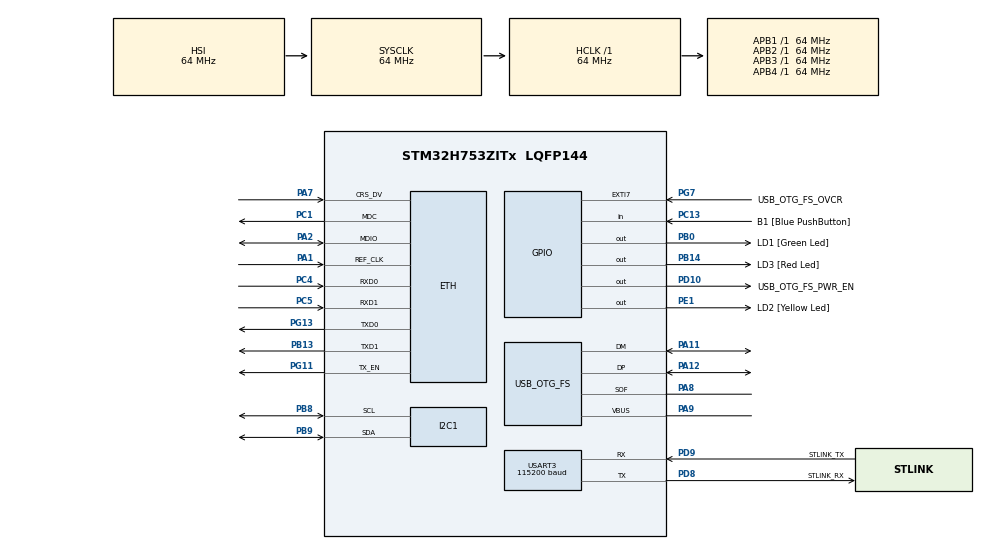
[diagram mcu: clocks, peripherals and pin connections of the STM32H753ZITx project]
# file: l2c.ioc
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CORTEX_M7.CPU_DCache=Disabled
CORTEX_M7.CPU_ICache=Disabled
CORTEX_M7.MPU_Control=__NULL
ETH.ETH_RX_DESC_CNT=4
ETH.ETH_TX_DESC_CNT=4
ETH.MACAddr=00\:80\:E1\:00\:00\:00
ETH.MediaInterface=HAL_ETH_RMII_MODE
ETH.RxBuffAddress=0x30040200
ETH.RxBuffLen=1524
ETH.RxDescAddress=0x30040000
ETH.TxDescAddress=0x30040060
Mcu.Family=STM32H7
Mcu.Name=STM32H753ZITx
Mcu.Package=LQFP144
NVIC.I2C1_ER_IRQn=true\:0\:0\:false\:false\:true\:true\:true\:true
NVIC.I2C1_EV_IRQn=true\:0\:0\:false\:false\:true\:true\:true\:true
NVIC.PriorityGroup=NVIC_PRIORITYGROUP_4
NVIC.USART3_IRQn=true\:0\:0\:false\:false\:true\:true\:true\:true
PA1.Mode=RMII
PA1.Signal=ETH_REF_CLK
PA11.Mode=Device_Only
PA11.Signal=USB_OTG_FS_DM
PA12.Mode=Device_Only
PA12.Signal=USB_OTG_FS_DP
PA2.Mode=RMII
PA2.Signal=ETH_MDIO
PA7.Mode=RMII
PA7.Signal=ETH_CRS_DV
PA8.Mode=Activate_SOF_FS
PA8.Signal=USB_OTG_FS_SOF
PA9.Mode=Activate_VBUS
PA9.Signal=USB_OTG_FS_VBUS
PB0.GPIO_Label=LD1 [Green Led]
PB0.Signal=GPIO_Output
PB13.Mode=RMII
PB13.Signal=ETH_TXD1
PB14.GPIO_Label=LD3 [Red Led]
PB14.Signal=GPIO_Output
PB8.GPIO_Speed=GPIO_SPEED_FREQ_VERY_HIGH
PB8.Mode=I2C
PB8.Signal=I2C1_SCL
PB9.GPIO_Speed=GPIO_SPEED_FREQ_VERY_HIGH
PB9.Mode=I2C
PB9.Signal=I2C1_SDA
PC1.Mode=RMII
PC1.Signal=ETH_MDC
PC13.GPIO_Label=B1 [Blue PushButton]
PC13.Signal=GPIO_Input
PC14-OSC32_IN\ (OSC32_IN).Mode=LSE-External-Oscillator
PC14-OSC32_IN\ (OSC32_IN).Signal=RCC_OSC32_IN
PC15-OSC32_OUT\ (OSC32_OUT).Mode=LSE-External-Oscillator
PC15-OSC32_OUT\ (OSC32_OUT).Signal=RCC_OSC32_OUT
PC4.Mode=RMII
PC4.Signal=ETH_RXD0
PC5.Mode=RMII
PC5.Signal=ETH_RXD1
PD10.GPIO_Label=USB_OTG_FS_PWR_EN
PD10.Signal=GPIO_Output
PD8.GPIO_Label=STLINK_RX
PD8.Mode=Asynchronous
PD8.Signal=USART3_TX
PD9.GPIO_Label=STLINK_TX
PD9.Mode=Asynchronous
PD9.Signal=USART3_RX
PE1.GPIO_Label=LD2 [Yellow Led]
PE1.Signal=GPIO_Output
PG11.Mode=RMII
PG11.Signal=ETH_TX_EN
PG13.Mode=RMII
PG13.Signal=ETH_TXD0
PG7.GPIO_Label=USB_OTG_FS_OVCR
PG7.Signal=GPXTI7
PH0-OSC_IN\ (PH0).Mode=HSE-External-Clock-Source
PH0-OSC_IN\ (PH0).Signal=RCC_OSC_IN
PH1-OSC_OUT\ (PH1).Signal=RCC_OSC_OUT
ProjectManager.HeapSize=0x200
ProjectManager.StackSize=0x400
ProjectManager.TargetToolchain=STM32CubeIDE
RCC.ADCFreq_Value=16125000
RCC.APB1Freq_Value=64000000
RCC.APB2Freq_Value=64000000
RCC.APB3Freq_Value=64000000
RCC.APB4Freq_Value=64000000
RCC.CortexFreq_Value=64000000
RCC.DIVM1=1
RCC.DIVN1=24
RCC.DIVQ1=4
RCC.HCLKFreq_Value=64000000
RCC.HSE_VALUE=8000000
RCC.PLLFRACN=0
RCC.PWR_Regulator_Voltage_Scale=PWR_REGULATOR_VOLTAGE_SCALE2
RCC.SYSCLKFreq_VALUE=64000000
RCC.USBFreq_Value=48000000
USART3.AutoBaudRateEnableParam=UART_ADVFEATURE_AUTOBAUDRATE_DISABLE
USART3.BaudRate=115200
USART3.ClockPrescaler=PRESCALER_DIV1
USART3.DMADisableonRxErrorParam=ADVFEATURE_DMA_ENABLEONRXERROR
USART3.DataInvertParam=ADVFEATURE_DATAINV_DISABLE
USART3.FIFOMode=FIFOMODE_DISABLE
USART3.MSBFirstParam=ADVFEATURE_MSBFIRST_DISABLE
USART3.Mode=MODE_TX_RX
USART3.OneBitSampling=UART_ONE_BIT_SAMPLE_DISABLE
USART3.OverSampling=UART_OVERSAMPLING_16
USART3.OverrunDisableParam=ADVFEATURE_OVERRUN_ENABLE
USART3.Parity=PARITY_NONE
USART3.RXFIFOThreshold=RXFIFO_THRESHOLD_1EIGHTHFULL
USART3.RxPinLevelInvertParam=ADVFEATURE_RXINV_DISABLE
USART3.StopBits=STOPBITS_1
USART3.SwapParam=ADVFEATURE_SWAP_DISABLE
USART3.TXFIFOThreshold=TXFIFO_THRESHOLD_1EIGHTHFULL
USART3.TxPinLevelInvertParam=ADVFEATURE_TXINV_DISABLE
USART3.VirtualMode-Asynchronous=VM_ASYNC
USART3.WordLength=WORDLENGTH_8B
USB_OTG_FS.Sof_enable=ENABLE
USB_OTG_FS.VirtualMode=Device_Only
USB_OTG_FS.battery_charging_enable=ENABLE
USB_OTG_FS.low_power_enable=DISABLE
USB_OTG_FS.lpm_enable=DISABLE
USB_OTG_FS.use_dedicated_ep1=DISABLE
USB_OTG_FS.vbus_sensing_enable=ENABLE
VP_MEMORYMAP_VS_MEMORYMAP.Mode=CurAppReg
board=NUCLEO-H753ZI

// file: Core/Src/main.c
/* USER CODE BEGIN Header */
/**
  ******************************************************************************
  * @file           : main.c
  * @brief          : Main program body
  ******************************************************************************
  * @attention
  *
  * Copyright (c) 2024 STMicroelectronics.
  * All rights reserved.
  *
  * This software is licensed under terms that can be found in the LICENSE file
  * in the root directory of this software component.
  * If no LICENSE file comes with this software, it is provided AS-IS.
  *
  ******************************************************************************
  */
/* USER CODE END Header */
#include "main.h"
#include "string.h"
#include "stdlib.h"

/* USER CODE BEGIN PD */

#define PCF8591_ADDRESS 0x48 << 1 // PFC8591 IC2 Address (shifted for STM32 HAL)
/* USER CODE END PD */

#if defined ( __ICCARM__ ) /*!< IAR Compiler */
#pragma location=0x30040000
ETH_DMADescTypeDef  DMARxDscrTab[ETH_RX_DESC_CNT]; /* Ethernet Rx DMA Descriptors */
#pragma location=0x30040060
ETH_DMADescTypeDef  DMATxDscrTab[ETH_TX_DESC_CNT]; /* Ethernet Tx DMA Descriptors */

#elif defined ( __CC_ARM )  /* MDK ARM Compiler */

__attribute__((at(0x30040000))) ETH_DMADescTypeDef  DMARxDscrTab[ETH_RX_DESC_CNT]; /* Ethernet Rx DMA Descriptors */
__attribute__((at(0x30040060))) ETH_DMADescTypeDef  DMATxDscrTab[ETH_TX_DESC_CNT]; /* Ethernet Tx DMA Descriptors */

#elif defined ( __GNUC__ ) /* GNU Compiler */

ETH_DMADescTypeDef DMARxDscrTab[ETH_RX_DESC_CNT] __attribute__((section(".RxDecripSection"))); /* Ethernet Rx DMA Descriptors */
ETH_DMADescTypeDef DMATxDscrTab[ETH_TX_DESC_CNT] __attribute__((section(".TxDecripSection")));   /* Ethernet Tx DMA Descriptors */
#endif

ETH_TxPacketConfig TxConfig;

ETH_HandleTypeDef heth;

I2C_HandleTypeDef hi2c1;

UART_HandleTypeDef huart3;

PCD_HandleTypeDef hpcd_USB_OTG_FS;

void SystemClock_Config(void);
static void MX_GPIO_Init(void);
static void MX_ETH_Init(void);
static void MX_USART3_UART_Init(void);
static void MX_USB_OTG_FS_PCD_Init(void);
static void MX_I2C1_Init(void);
/* USER CODE BEGIN PFP */
uint8_t PCF8591_ReadAnalog(uint8_t channel);
void PCF8591_ReadPot();
void PCF8591_ReadLDR();
void PCF8591_ReadTemp();
uint8_t rxBuffer[12];
char stringBuffer[12];
/* USER CODE END PFP */

int main(void)
{

  /* MCU Configuration--------------------------------------------------------*/

  /* Reset of all peripherals, Initializes the Flash interface and the Systick. */
  HAL_Init();

  /* Configure the system clock */
  SystemClock_Config();

  /* Initialize all configured peripherals */
  MX_GPIO_Init();
  MX_ETH_Init();
  MX_USART3_UART_Init();
  MX_USB_OTG_FS_PCD_Init();
  MX_I2C1_Init();
  /* USER CODE BEGIN 2 */
  //Mensagem para avisar ao usuário que o programa começou
  char welcomeMsg[] = "Digite um comando:\r\n";
  HAL_UART_Transmit_IT(&huart3, (uint8_t *)welcomeMsg, strlen(welcomeMsg));
  //Receive_IT inicial para permitir que a placa receba um
  HAL_UART_Receive_IT(&huart3, rxBuffer, 12);

  /* USER CODE END 2 */

  /* Infinite loop */
  /* USER CODE BEGIN WHILE */
  while (1)
  {

	  HAL_Delay(1000);
	  strncpy(stringBuffer, rxBuffer, 12);

	  //Func para checar o valor no sensor de canal 0
	  if(strncmp(stringBuffer,"LDR",3) == 0){
		  PCF8591_ReadLDR();
		  HAL_Delay(100);

	  }

	  //Func para checar o valor no sensor de canal 1
	  if(strncmp(stringBuffer,"Temp",4) == 0){
		  PCF8591_ReadTemp();
		  HAL_Delay(100);
	  }

	  //Func para checar o valor no sensor de canal 3
	  if(strncmp(stringBuffer,"Pot",3) == 0){
		  PCF8591_ReadPot();
		  HAL_Delay(100);
	  }

	  if(strncmp(stringBuffer,"Set_DAC_",8)==0){

		  uint8_t value = (uint8_t)atoi((char*)&stringBuffer[8]);
		  set_dac(value);

	  }

    /* USER CODE END WHILE */

  }
}

void SystemClock_Config(void)
{
  RCC_OscInitTypeDef RCC_OscInitStruct = {0};
  RCC_ClkInitTypeDef RCC_ClkInitStruct = {0};

  /** Supply configuration update enable
  */
  HAL_PWREx_ConfigSupply(PWR_LDO_SUPPLY);

  /** Configure the main internal regulator output voltage
  */
  __HAL_PWR_VOLTAGESCALING_CONFIG(PWR_REGULATOR_VOLTAGE_SCALE2);

  while(!__HAL_PWR_GET_FLAG(PWR_FLAG_VOSRDY)) {}

  /** Initializes the RCC Oscillators according to the specified parameters
  * in the RCC_OscInitTypeDef structure.
  */
  RCC_OscInitStruct.OscillatorType = RCC_OSCILLATORTYPE_HSI|RCC_OSCILLATORTYPE_HSE;
  RCC_OscInitStruct.HSEState = RCC_HSE_BYPASS;
  RCC_OscInitStruct.HSIState = RCC_HSI_DIV1;
  RCC_OscInitStruct.HSICalibrationValue = RCC_HSICALIBRATION_DEFAULT;
  RCC_OscInitStruct.PLL.PLLState = RCC_PLL_ON;
  RCC_OscInitStruct.PLL.PLLSource = RCC_PLLSOURCE_HSE;
  RCC_OscInitStruct.PLL.PLLM = 1;
  RCC_OscInitStruct.PLL.PLLN = 24;
  RCC_OscInitStruct.PLL.PLLP = 2;
  RCC_OscInitStruct.PLL.PLLQ = 4;
  RCC_OscInitStruct.PLL.PLLR = 2;
  RCC_OscInitStruct.PLL.PLLRGE = RCC_PLL1VCIRANGE_3;
  RCC_OscInitStruct.PLL.PLLVCOSEL = RCC_PLL1VCOWIDE;
  RCC_OscInitStruct.PLL.PLLFRACN = 0;
  if (HAL_RCC_OscConfig(&RCC_OscInitStruct) != HAL_OK)
  {
    Error_Handler();
  }

  /** Initializes the CPU, AHB and APB buses clocks
  */
  RCC_ClkInitStruct.ClockType = RCC_CLOCKTYPE_HCLK|RCC_CLOCKTYPE_SYSCLK
                              |RCC_CLOCKTYPE_PCLK1|RCC_CLOCKTYPE_PCLK2
                              |RCC_CLOCKTYPE_D3PCLK1|RCC_CLOCKTYPE_D1PCLK1;
  RCC_ClkInitStruct.SYSCLKSource = RCC_SYSCLKSOURCE_HSI;
  RCC_ClkInitStruct.SYSCLKDivider = RCC_SYSCLK_DIV1;
  RCC_ClkInitStruct.AHBCLKDivider = RCC_HCLK_DIV1;
  RCC_ClkInitStruct.APB3CLKDivider = RCC_APB3_DIV1;
  RCC_ClkInitStruct.APB1CLKDivider = RCC_APB1_DIV1;
  RCC_ClkInitStruct.APB2CLKDivider = RCC_APB2_DIV1;
  RCC_ClkInitStruct.APB4CLKDivider = RCC_APB4_DIV1;

  if (HAL_RCC_ClockConfig(&RCC_ClkInitStruct, FLASH_LATENCY_1) != HAL_OK)
  {
    Error_Handler();
  }
}

static void MX_ETH_Init(void)
{

   static uint8_t MACAddr[6];

  heth.Instance = ETH;
  MACAddr[0] = 0x00;
  MACAddr[1] = 0x80;
  MACAddr[2] = 0xE1;
  MACAddr[3] = 0x00;
  MACAddr[4] = 0x00;
  MACAddr[5] = 0x00;
  heth.Init.MACAddr = &MACAddr[0];
  heth.Init.MediaInterface = HAL_ETH_RMII_MODE;
  heth.Init.TxDesc = DMATxDscrTab;
  heth.Init.RxDesc = DMARxDscrTab;
  heth.Init.RxBuffLen = 1524;

  if (HAL_ETH_Init(&heth) != HAL_OK)
  {
    Error_Handler();
  }

  memset(&TxConfig, 0 , sizeof(ETH_TxPacketConfig));
  TxConfig.Attributes = ETH_TX_PACKETS_FEATURES_CSUM | ETH_TX_PACKETS_FEATURES_CRCPAD;
  TxConfig.ChecksumCtrl = ETH_CHECKSUM_IPHDR_PAYLOAD_INSERT_PHDR_CALC;
  TxConfig.CRCPadCtrl = ETH_CRC_PAD_INSERT;

}

static void MX_I2C1_Init(void)
{

  hi2c1.Instance = I2C1;
  hi2c1.Init.Timing = 0x10707DBC;
  hi2c1.Init.OwnAddress1 = 0;
  hi2c1.Init.AddressingMode = I2C_ADDRESSINGMODE_7BIT;
  hi2c1.Init.DualAddressMode = I2C_DUALADDRESS_DISABLE;
  hi2c1.Init.OwnAddress2 = 0;
  hi2c1.Init.OwnAddress2Masks = I2C_OA2_NOMASK;
  hi2c1.Init.GeneralCallMode = I2C_GENERALCALL_DISABLE;
  hi2c1.Init.NoStretchMode = I2C_NOSTRETCH_DISABLE;
  if (HAL_I2C_Init(&hi2c1) != HAL_OK)
  {
    Error_Handler();
  }

  /** Configure Analogue filter
  */
  if (HAL_I2CEx_ConfigAnalogFilter(&hi2c1, I2C_ANALOGFILTER_ENABLE) != HAL_OK)
  {
    Error_Handler();
  }

  /** Configure Digital filter
  */
  if (HAL_I2CEx_ConfigDigitalFilter(&hi2c1, 0) != HAL_OK)
  {
    Error_Handler();
  }

}

static void MX_USART3_UART_Init(void)
{

  huart3.Instance = USART3;
  huart3.Init.BaudRate = 115200;
  huart3.Init.WordLength = UART_WORDLENGTH_8B;
  huart3.Init.StopBits = UART_STOPBITS_1;
  huart3.Init.Parity = UART_PARITY_NONE;
  huart3.Init.Mode = UART_MODE_TX_RX;
  huart3.Init.HwFlowCtl = UART_HWCONTROL_NONE;
  huart3.Init.OverSampling = UART_OVERSAMPLING_16;
  huart3.Init.OneBitSampling = UART_ONE_BIT_SAMPLE_DISABLE;
  huart3.Init.ClockPrescaler = UART_PRESCALER_DIV1;
  huart3.AdvancedInit.AdvFeatureInit = UART_ADVFEATURE_NO_INIT;
  if (HAL_UART_Init(&huart3) != HAL_OK)
  {
    Error_Handler();
  }
  if (HAL_UARTEx_SetTxFifoThreshold(&huart3, UART_TXFIFO_THRESHOLD_1_8) != HAL_OK)
  {
    Error_Handler();
  }
  if (HAL_UARTEx_SetRxFifoThreshold(&huart3, UART_RXFIFO_THRESHOLD_1_8) != HAL_OK)
  {
    Error_Handler();
  }
  if (HAL_UARTEx_DisableFifoMode(&huart3) != HAL_OK)
  {
    Error_Handler();
  }

}

static void MX_USB_OTG_FS_PCD_Init(void)
{

  hpcd_USB_OTG_FS.Instance = USB_OTG_FS;
  hpcd_USB_OTG_FS.Init.dev_endpoints = 9;
  hpcd_USB_OTG_FS.Init.speed = PCD_SPEED_FULL;
  hpcd_USB_OTG_FS.Init.dma_enable = DISABLE;
  hpcd_USB_OTG_FS.Init.phy_itface = PCD_PHY_EMBEDDED;
  hpcd_USB_OTG_FS.Init.Sof_enable = ENABLE;
  hpcd_USB_OTG_FS.Init.low_power_enable = DISABLE;
  hpcd_USB_OTG_FS.Init.lpm_enable = DISABLE;
  hpcd_USB_OTG_FS.Init.battery_charging_enable = ENABLE;
  hpcd_USB_OTG_FS.Init.vbus_sensing_enable = ENABLE;
  hpcd_USB_OTG_FS.Init.use_dedicated_ep1 = DISABLE;
  if (HAL_PCD_Init(&hpcd_USB_OTG_FS) != HAL_OK)
  {
    Error_Handler();
  }

}

static void MX_GPIO_Init(void)
{
  GPIO_InitTypeDef GPIO_InitStruct = {0};

  /* GPIO Ports Clock Enable */
  __HAL_RCC_GPIOC_CLK_ENABLE();
  __HAL_RCC_GPIOH_CLK_ENABLE();
  __HAL_RCC_GPIOA_CLK_ENABLE();
  __HAL_RCC_GPIOB_CLK_ENABLE();
  __HAL_RCC_GPIOD_CLK_ENABLE();
  __HAL_RCC_GPIOG_CLK_ENABLE();
  __HAL_RCC_GPIOE_CLK_ENABLE();

  /*Configure GPIO pin Output Level */
  HAL_GPIO_WritePin(GPIOB, LD1_Pin|LD3_Pin, GPIO_PIN_RESET);

  /*Configure GPIO pin Output Level */
  HAL_GPIO_WritePin(USB_OTG_FS_PWR_EN_GPIO_Port, USB_OTG_FS_PWR_EN_Pin, GPIO_PIN_RESET);

  /*Configure GPIO pin Output Level */
  HAL_GPIO_WritePin(LD2_GPIO_Port, LD2_Pin, GPIO_PIN_RESET);

  /*Configure GPIO pin : B1_Pin */
  GPIO_InitStruct.Pin = B1_Pin;
  GPIO_InitStruct.Mode = GPIO_MODE_INPUT;
  GPIO_InitStruct.Pull = GPIO_NOPULL;
  HAL_GPIO_Init(B1_GPIO_Port, &GPIO_InitStruct);

  /*Configure GPIO pins : LD1_Pin LD3_Pin */
  GPIO_InitStruct.Pin = LD1_Pin|LD3_Pin;
  GPIO_InitStruct.Mode = GPIO_MODE_OUTPUT_PP;
  GPIO_InitStruct.Pull = GPIO_NOPULL;
  GPIO_InitStruct.Speed = GPIO_SPEED_FREQ_LOW;
  HAL_GPIO_Init(GPIOB, &GPIO_InitStruct);

  /*Configure GPIO pin : USB_OTG_FS_PWR_EN_Pin */
  GPIO_InitStruct.Pin = USB_OTG_FS_PWR_EN_Pin;
  GPIO_InitStruct.Mode = GPIO_MODE_OUTPUT_PP;
  GPIO_InitStruct.Pull = GPIO_NOPULL;
  GPIO_InitStruct.Speed = GPIO_SPEED_FREQ_LOW;
  HAL_GPIO_Init(USB_OTG_FS_PWR_EN_GPIO_Port, &GPIO_InitStruct);

  /*Configure GPIO pin : USB_OTG_FS_OVCR_Pin */
  GPIO_InitStruct.Pin = USB_OTG_FS_OVCR_Pin;
  GPIO_InitStruct.Mode = GPIO_MODE_IT_RISING;
  GPIO_InitStruct.Pull = GPIO_NOPULL;
  HAL_GPIO_Init(USB_OTG_FS_OVCR_GPIO_Port, &GPIO_InitStruct);

  /*Configure GPIO pin : LD2_Pin */
  GPIO_InitStruct.Pin = LD2_Pin;
  GPIO_InitStruct.Mode = GPIO_MODE_OUTPUT_PP;
  GPIO_InitStruct.Pull = GPIO_NOPULL;
  GPIO_InitStruct.Speed = GPIO_SPEED_FREQ_LOW;
  HAL_GPIO_Init(LD2_GPIO_Port, &GPIO_InitStruct);

}

/* USER CODE BEGIN 4 */
void PCF8591_ReadPot(){
		char string[15];
		uint8_t config_byte = 0x40 | (3 & 0x03);
		uint8_t analog_data[2];

		//Transmitir comando para o sensor
		HAL_I2C_Master_Transmit_IT(&hi2c1,PCF8591_ADDRESS, &config_byte, 1);
		HAL_Delay(100);
		//Receber informação sobre o canal escolhido
		HAL_I2C_Master_Receive_IT(&hi2c1,PCF8591_ADDRESS, analog_data, 2);
		HAL_Delay(100);

		if (analog_data[1] > 170) {
		    strcpy(string, "Potencia alta\n");
		} else if (analog_data[1] > 85) {
		    strcpy(string, "Potencia média\n");
		} else {
		    strcpy(string, "Potencia Baixa\n");
		}

		HAL_UART_Transmit_IT(&huart3, (uint8_t*)string, strlen(string));
		HAL_Delay(100);

		 // Limpar a memoria do buffer
		 memset(rxBuffer, 0, 12);
		 // Resetar o contador e o ponteiro do usart3
		  huart3.pRxBuffPtr = rxBuffer;
		  huart3.RxXferCount = 0;
		  memset(stringBuffer, 0, 12);
		  HAL_UART_Receive_IT(&huart3, rxBuffer, 12);

}

void PCF8591_ReadTemp(){
		char string[15];
		uint8_t config_byte = 0x40 | (1 & 0x03);
		uint8_t analog_data[2];

		//Transmitir comando para o sensor
		HAL_I2C_Master_Transmit_IT(&hi2c1,PCF8591_ADDRESS, &config_byte, 1);
		HAL_Delay(100);
		//Receber informação sobre o canal escolhido
		HAL_I2C_Master_Receive_IT(&hi2c1,PCF8591_ADDRESS, analog_data, 2);
		HAL_Delay(100);

		if(analog_data[1]>170){
			//Criar mensagem que será exibida no terminal
			sprintf(string, "Temperatura alta\n");
		}else if(analog_data[1]>85){
			sprintf(string, "Temperatura média\n");
		}else{
			sprintf(string, "Temperatura Baixa\n");
		}

		HAL_UART_Transmit_IT(&huart3, (uint8_t*)string, strlen(string));
		HAL_Delay(100);
		 // Limpar a memoria do buffer
		 memset(rxBuffer, 0, 12);
		 // Resetar o contador e o ponteiro do usart3
		  huart3.pRxBuffPtr = rxBuffer;
		  huart3.RxXferCount = 0;
		  memset(stringBuffer, 0, 12);
		  HAL_UART_Receive_IT(&huart3, rxBuffer, 12);

}

void PCF8591_ReadLDR(){
		char string[15];
		uint8_t config_byte = 0x40 | (0 & 0x03);
		uint8_t analog_data[2];

		//Transmitir comando para o sensor
		HAL_I2C_Master_Transmit_IT(&hi2c1,PCF8591_ADDRESS, &config_byte, 1);
		HAL_Delay(100);
		//Receber informação sobre o canal escolhido
		HAL_I2C_Master_Receive_IT(&hi2c1,PCF8591_ADDRESS, analog_data, 2);
		HAL_Delay(100);

		if(analog_data[1]>170){
			//Criar mensagem que será exibida no terminal
			sprintf(string, "Luminosidade alta\n");
		}else if(analog_data[1]>85){
			sprintf(string, "Luminosidade média\n");
		}else{
			sprintf(string, "Luminosidade Baixa\n");
		}

		HAL_UART_Transmit_IT(&huart3, (uint8_t*)string, strlen(string));
		HAL_Delay(100);

		 // Limpar a memoria do buffer
		 memset(rxBuffer, 0, 12);
		 // Resetar o contador e o ponteiro do usart3
		  huart3.pRxBuffPtr = rxBuffer;
		  huart3.RxXferCount = 0;
		  memset(stringBuffer, 0, 12);
		  HAL_UART_Receive_IT(&huart3, rxBuffer, 12);

}

	 void set_dac(uint8_t value){
		 uint8_t config_byte = 0x40;
		 uint8_t analog_data[2] = {config_byte, value};
		 //Transmitir comando para o sensor
		 HAL_I2C_Master_Transmit_IT(&hi2c1,(uint16_t)PCF8591_ADDRESS, analog_data, 2);
		 HAL_Delay(100);

		 //Criar mensagem que será exibida no terminal
		 char string[15];
		 sprintf(string, "Valor do DAC: %d\n", value);
		 //Enviar mensagem
		 HAL_UART_Transmit_IT(&huart3, (uint8_t*)string, strlen(string));
		 HAL_Delay(100);

		 // Limpar a memoria do buffer
		 memset(rxBuffer, 0, 12);
		 // Resetar o contador e o ponteiro do usart3
		  huart3.pRxBuffPtr = rxBuffer;
		  huart3.RxXferCount = 0;
		  memset(stringBuffer, 0, 12);
		  HAL_UART_Receive_IT(&huart3, rxBuffer, 12);
	 }

	 void HAL_UART_RxCpltCallback(UART_HandleTypeDef *huart){
		 // Limpar a memoria do buffer
		 	    memset(rxBuffer, 0, 12);
		 	    // Resetar o contador e o ponteiro do usart3
		 	    huart3.pRxBuffPtr = rxBuffer;
		 	    huart3.RxXferCount = 0;
		 	    memset(stringBuffer, 0, 12);
		 HAL_UART_Receive_IT(&huart3, rxBuffer, 12); // Reinicia a recepção

	 }
/* USER CODE END 4 */

void Error_Handler(void)
{
  __disable_irq();
  while (1)
  {
  }
}
